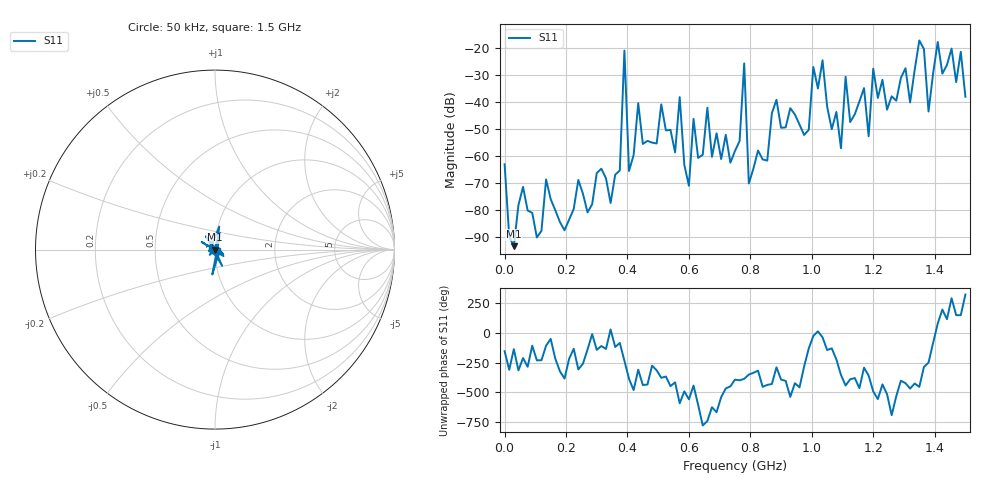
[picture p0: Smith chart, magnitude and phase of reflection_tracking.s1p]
! Created with skrf 1.8.0 (http://scikit-rf.org).
# Hz S RI R 50.0
!freq ReS11 ImS11
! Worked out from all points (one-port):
!   101 points, 50 kHz to 1.5 GHz, reference 50 ohm
!   lowest |S11| = -93.5 dB at 30.05 MHz (marker M1), VSWR 1.00, Z = 50 - j0.00144 ohm
!   |S11| at or under -10 dB: start of sweep to end of sweep
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50000  -0.000632 -0.000302
3.0049e7  -1.54e-05 -1.44e-05
1.950435e8  3.75e-05 -1.82e-05
3.750375e8  5.06e-05 -0.000534
3.90037e8  -0.0511 0.0744
4.050365e8  0.000463 -0.000247
4.350355e8  0.00624 0.0072
5.550315e8  0.000617 -0.000985
5.70031e8  -0.00704 0.0101
6.0003e8  -0.00026 0.000101
6.150295e8  0.000395 -0.00486
6.60028e8  0.0071 -0.00336
7.50025e8  0.00102 -0.000707
7.80024e8  0.046 -0.0248
7.950235e8  0.000305 4.21e-05
9.450185e8  0.00248 -0.00534
1.035016e9  0.0474 -0.0361
1.065014e9  -0.00202 -0.00238
1.095014e9  0.00138 0.000122
1.110013e9  0.00274 -0.0294
1.125012e9  0.0036 -0.00227
1.18501e9  0.00232 -5.93e-06
1.20001e9  -0.0295 -0.0295
1.320006e9  -0.00344 -0.00921
1.350005e9  -0.0149 -0.1385
1.380004e9  -0.00219 0.0063
1.410003e9  0.0235 0.1284
1.5e9  0.0103 -0.00722
